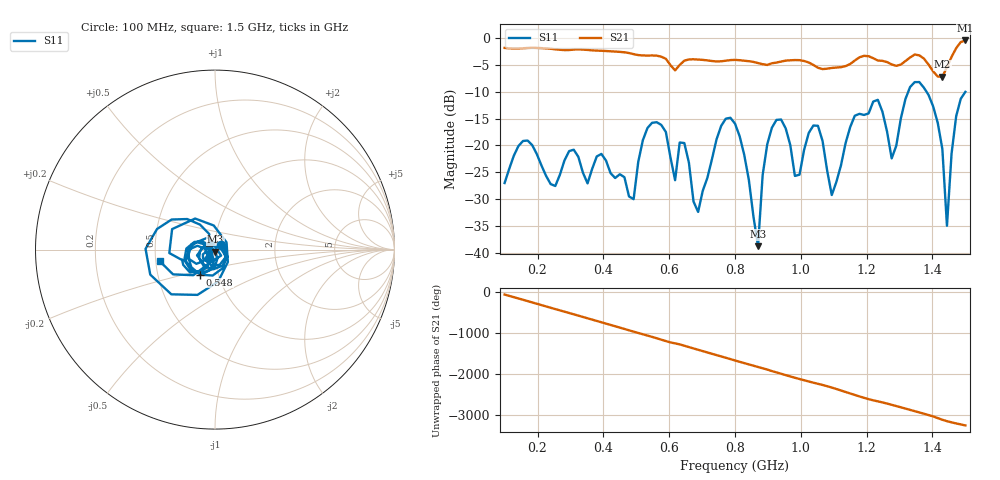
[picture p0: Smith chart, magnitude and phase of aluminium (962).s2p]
! NanoVNA-App
! Date: 2025-09-25 15:02:46
! Start: 100MHz Stop: 1,5GHz Points: 101
! S-Parameter data: F S11 S21 S12 S22
# Hz S RI R 50
!  Frequency  S11_Real  S11_Imag  S21_Real  S21_Imag  S12_Real  S12_Imag  S22_Real  S22_Imag
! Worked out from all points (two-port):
!   101 points, 100 MHz to 1.5 GHz, reference 50 ohm
!   highest |S21| = -0.54 dB at 1.5 GHz (marker M1); lowest = -7.3 dB at 1.43 GHz (marker M2)
!   |S21| within 3 dB of the highest: start of sweep to 575.5 MHz; 1.458 GHz to end of sweep (the widest 2 of 4)
!   lowest |S11| = -38.7 dB at 870 MHz (marker M3), VSWR 1.02, Z = 50.2 - j1.15 ohm
!   |S11| at or under -10 dB: start of sweep to 1.327 GHz; 1.381 GHz to end of sweep
!   S12 and S22 are empty: the file has one direction only
!   S11 on the Smith chart (normalised r, x): 100 MHz: 1.07, +0.06; 548 MHz: 0.82, -0.23; 1.5 GHz: 0.53, -0.08
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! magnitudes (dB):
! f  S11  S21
! 100 MHz  -27.0  -1.9
! 156 MHz  -19.2  -2.0
! 338 MHz  -25.0  -2.2
! 492 MHz  -30.0  -3.1
! 548 MHz  -15.8  -3.3
! 576 MHz  -16.2  -3.5
! 618 MHz  -26.4  -6.1
! 646 MHz  -19.6  -4.3
! 688 MHz  -32.3  -4.1
! 800 MHz  -15.9  -4.1
! 870 MHz  -38.7  -4.7
! 912 MHz  -16.7  -4.8
! 982 MHz  -25.6  -4.2
! 1.038 GHz  -16.3  -5.1
! 1.094 GHz  -29.2  -5.6
! 1.22 GHz  -11.9  -3.8
! 1.276 GHz  -22.4  -5.0
! 1.346 GHz  -8.3  -3.1
! 1.43 GHz  -20.6  -7.3
! 1.444 GHz  -34.9  -5.5
! 1.472 GHz  -14.6  -2.0
! 1.5 GHz  -10.1  -0.5
